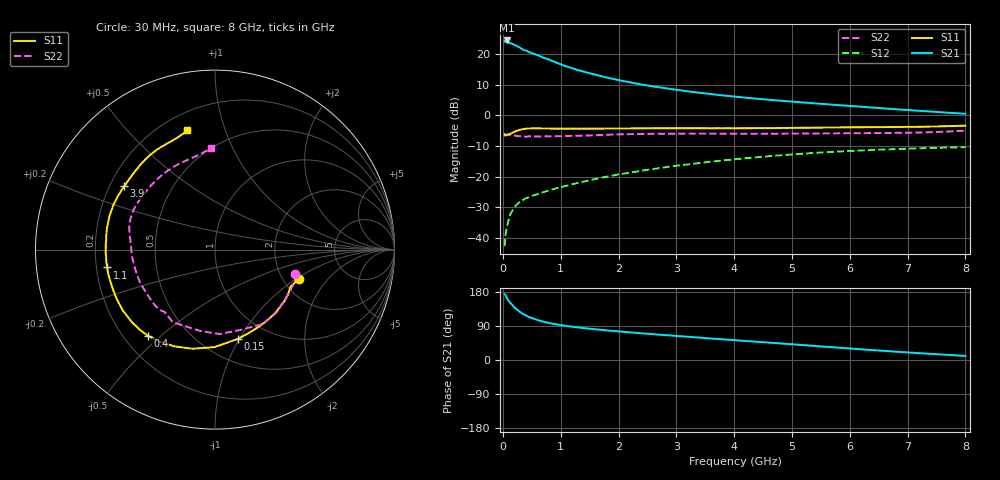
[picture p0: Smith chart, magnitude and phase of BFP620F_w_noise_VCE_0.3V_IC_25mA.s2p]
! Infineon Technologies  Discrete & RF Semiconductors
! BFP620F
! VCE =  0.3 V,  IC =  25 mA
! Common Emitter S-Parameters:  Dec 2014
# GHz  S  MA  R  50
!  f  S11  S21  S12  S22
! GHz  MAG  ANG  MAG  ANG  MAG  ANG  MAG  ANG
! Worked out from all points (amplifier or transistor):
!   95 points, 30 MHz to 8 GHz, reference 50 ohm
!   highest |S21| = 24.4 dB at 70 MHz (marker M1)
!   |S21| within 3 dB of that: start of sweep to 347.1 MHz
!   unconditionally stable (mu >= 1): start of sweep to 85.03 MHz; 1.475 GHz to end of sweep
!   at 300 MHz: K = 0.56, MSG = 25.0 dB, |S12| = -28.0 dB
!   at 3.3 GHz: K = 1.08, MAG = 10.0 dB, |S12| = -15.7 dB
!   at 8 GHz: K = 1.11, MAG = 3.4 dB, |S12| = -10.4 dB
!   lowest NFmin = 1.00 dB at 450 MHz
!   S11 on the Smith chart (normalised r, x): 30 MHz: 2.41, -1.06; 150 MHz: 0.73, -0.99; 400 MHz: 0.30, -0.45; 1.1 GHz: 0.24, -0.08; 3.9 GHz: 0.26, +0.30; 8 GHz: 0.30, +0.75
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0.03  0.4942 -19.6  16.21 173.5  0.0074 63.4  0.4656 -17.2
0.04  0.4686 -26.1  15.66 172.1  0.0094 64.4  0.4797 -21.8
0.06  0.4816 -36.5  16.62 167.2  0.0135 66.2  0.4795 -30.4
0.07  0.4834 -41.6  16.66 163.7  0.0156 64.1  0.4792 -35.3
0.1  0.4913 -56.0  15.77 155.9  0.0198 61.6  0.4897 -49.5
0.12  0.4976 -64.7  15.1 152.1  0.0235 60.6  0.4886 -59.3
0.15  0.5132 -75.4  14.83 147.5  0.0265 57.4  0.4712 -70.8
0.2  0.543 -90.1  14.13 138.6  0.0321 53.4  0.4713 -86.9
0.25  0.566 -102.6  13.41 132.6  0.0361 50.7  0.4607 -100.3
0.35  0.5973 -120.9  11.74 121.4  0.0421 47.4  0.4685 -120.0
0.4  0.6092 -128.1  11.38 117.9  0.0446 46.5  0.4464 -129.1
0.5  0.6148 -138.8  10.36 110.7  0.0488 46.0  0.4556 -140.3
0.7  0.6129 -153.4  8.725 101.1  0.0563 46.8  0.4568 -155.6
1.1  0.6086 -170.6  6.284 89.8  0.0715 49.5  0.4622 -173.7
1.4  0.6094 -178.6  5.169 84.2  0.0837 50.7  0.468 177.8
2  0.613 169.7  3.768 75.5  0.1091 50.9  0.4913 166.5
2.7  0.6171 159.7  2.875 67.0  0.1381 48.6  0.5018 158.9
3.9  0.6172 145.1  2.075 53.5  0.1883 41.7  0.5034 147.2
4.1  0.6171 142.8  1.989 51.3  0.1962 40.3  0.5023 144.9
5.4  0.6321 129.7  1.57 37.0  0.2451 30.2  0.5078 128.6
6.7  0.6464 116.3  1.28 23.0  0.2802 19.1  0.5187 111.4
8  0.6818 103.0  1.063 10.7  0.3037 8.8  0.5645 92.1
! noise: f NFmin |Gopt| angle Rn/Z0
0.45  1  0.01  10  0.2
0.9  1.04  0.01  11  0.16
1.5  1.06  0.02  -150  0.16
1.8  1.07  0.03  -150  0.16
1.9  1.07  0.04  -150  0.15
2.4  1.1  0.06  -147  0.16
3.5  1.17  0.1  -145  0.16
5.5  1.32  0.18  236  0.12
6  1.36  0.18  258  0.15
